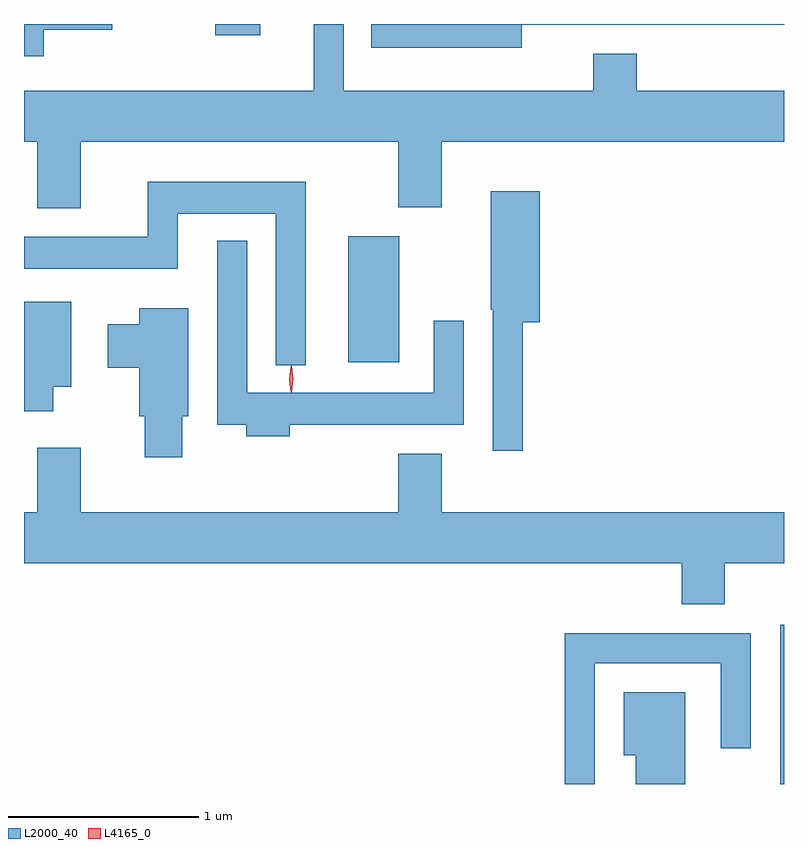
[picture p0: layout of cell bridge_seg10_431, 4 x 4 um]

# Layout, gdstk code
import gdstk
lib = gdstk.Library(unit=1e-6, precision=1e-09)
def R(c, l, rs):  # rectangles x0, y0, x1, y1
    for r in rs: c.add(gdstk.rectangle(r[:2], r[2:], *l))
def P(c, l, *ps):  # polygons
    for p in ps: c.add(gdstk.Polygon(p, *l))
L2000_40 = (2000, 40)
L4165_0 = (4165, 0)

bridge_seg10_431 = lib.new_cell('bridge_seg10_431')
R(bridge_seg10_431, L2000_40, [(1425.581,2141.615,1425.6,2142.454), (1423.306,2143.836,1423.574,2144.499), (1422.606,2145.556,1422.844,2145.615)])
P(bridge_seg10_431, L2000_40, [(1424.219,2145.611),(1425.6,2145.611),(1425.6,2145.615),(1423.428,2145.615),(1423.428,2145.491),(1424.219,2145.491)],
  [(1421.899,2144.996),(1423.571,2144.996),(1423.571,2144.651),(1423.799,2144.651),(1423.799,2144.996),(1425.6,2144.996),(1425.6,2145.264),(1424.824,2145.264),(1424.824,2145.459),(1424.596,2145.459),(1424.596,2145.264),(1423.284,2145.264),(1423.284,2145.615),(1423.126,2145.615),(1423.126,2145.264),(1421.6,2145.264),(1421.6,2144.996),(1421.671,2144.996),(1421.671,2144.646),(1421.899,2144.646)],
  [(1421.704,2145.586),(1422.064,2145.586),(1422.064,2145.615),(1421.6,2145.615),(1421.6,2145.446),(1421.704,2145.446)],
  [(1423.084,2144.784),(1422.251,2144.784),(1422.251,2144.494),(1421.6,2144.494),(1421.6,2144.326),(1422.409,2144.326),(1422.409,2144.616),(1422.926,2144.616),(1422.926,2143.818),(1423.084,2143.818)],
  [(1424.224,2144.046),(1424.314,2144.046),(1424.314,2144.734),(1424.056,2144.734),(1424.056,2144.11),(1424.066,2144.11),(1424.066,2143.368),(1424.224,2143.368)],
  [(1422.999,2143.506),(1423.914,2143.506),(1423.914,2144.053),(1423.756,2144.053),(1423.756,2143.674),(1422.774,2143.674),(1422.774,2144.473),(1422.616,2144.473),(1422.616,2143.506),(1422.771,2143.506),(1422.771,2143.446),(1422.999,2143.446)],
  [(1421.754,2143.706),(1421.849,2143.706),(1421.849,2144.154),(1421.6,2144.154),(1421.6,2143.576),(1421.754,2143.576)],
  [(1422.434,2143.551),(1422.464,2143.551),(1422.464,2144.119),(1422.206,2144.119),(1422.206,2144.034),(1422.041,2144.034),(1422.041,2143.806),(1422.206,2143.806),(1422.206,2143.551),(1422.236,2143.551),(1422.236,2143.336),(1422.434,2143.336)],
  [(1425.289,2142.776),(1425.6,2142.776),(1425.6,2143.044),(1423.799,2143.044),(1423.799,2143.354),(1423.571,2143.354),(1423.571,2143.044),(1421.899,2143.044),(1421.899,2143.384),(1421.671,2143.384),(1421.671,2143.044),(1421.6,2143.044),(1421.6,2142.776),(1425.061,2142.776),(1425.061,2142.561),(1425.289,2142.561)],
  [(1424.604,2142.251),(1425.266,2142.251),(1425.266,2141.803),(1425.424,2141.803),(1425.424,2142.409),(1424.446,2142.409),(1424.446,2141.615),(1424.604,2141.615)],
  [(1425.079,2142.099),(1424.756,2142.099),(1424.756,2141.766),(1424.821,2141.766),(1424.821,2141.615),(1425.079,2141.615)])
P(bridge_seg10_431, L4165_0, [(1423.005,2143.68),(1423.005,2143.68),(1422.995,2143.746),(1423.005,2143.812),(1423.005,2143.813),(1423.006,2143.812),(1423.015,2143.746),(1423.006,2143.68)],
  [(1423.008,2143.677),(1423.007,2143.678),(1422.998,2143.747),(1423.007,2143.816),(1423.008,2143.816),(1423.008,2143.816),(1423.018,2143.747),(1423.008,2143.678)])

lib.write_gds('bridge_seg10_431.gds')
